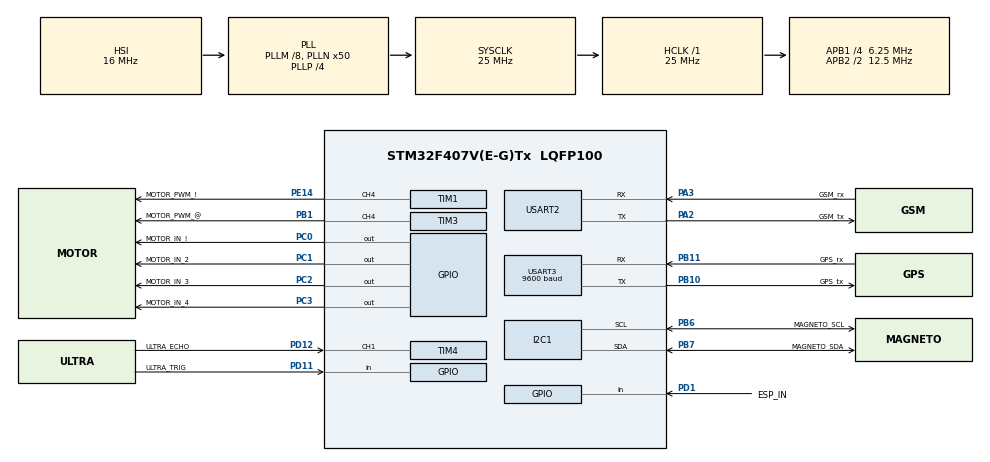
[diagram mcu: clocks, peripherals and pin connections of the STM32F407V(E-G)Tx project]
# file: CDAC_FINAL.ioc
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Mcu.Family=STM32F4
Mcu.Name=STM32F407V(E-G)Tx
Mcu.Package=LQFP100
NVIC.PriorityGroup=NVIC_PRIORITYGROUP_0
NVIC.TIM4_IRQn=true\:0\:0\:false\:false\:true\:true\:true\:true
PA2.GPIO_Label=GSM_tx
PA2.Mode=Asynchronous
PA2.Signal=USART2_TX
PA3.GPIO_Label=GSM_rx
PA3.Mode=Asynchronous
PA3.Signal=USART2_RX
PB1.GPIO_Label=MOTOR_PWM_@
PB1.Signal=S_TIM3_CH4
PB10.GPIO_Label=GPS_tx
PB10.Mode=Asynchronous
PB10.Signal=USART3_TX
PB11.GPIO_Label=GPS_rx
PB11.Mode=Asynchronous
PB11.Signal=USART3_RX
PB6.GPIO_Label=MAGNETO_SCL
PB6.Mode=I2C
PB6.Signal=I2C1_SCL
PB7.GPIO_Label=MAGNETO_SDA
PB7.Mode=I2C
PB7.Signal=I2C1_SDA
PC0.GPIO_Label=MOTOR_IN_\!
PC0.Signal=GPIO_Output
PC1.GPIO_Label=MOTOR_IN_2
PC1.Signal=GPIO_Output
PC14-OSC32_IN.Mode=LSE-External-Oscillator
PC14-OSC32_IN.Signal=RCC_OSC32_IN
PC15-OSC32_OUT.Mode=LSE-External-Oscillator
PC15-OSC32_OUT.Signal=RCC_OSC32_OUT
PC2.GPIO_Label=MOTOR_IN_3
PC2.Signal=GPIO_Output
PC3.GPIO_Label=MOTOR_IN_4
PC3.Signal=GPIO_Output
PD1.GPIO_Label=ESP_IN
PD1.Signal=GPIO_Input
PD11.GPIO_Label=ULTRA_TRIG
PD11.Signal=GPIO_Input
PD12.GPIO_Label=ULTRA_ECHO
PD12.Signal=S_TIM4_CH1
PE14.GPIO_Label=MOTOR_PWM_\!
PE14.Signal=S_TIM1_CH4
ProjectManager.HeapSize=0x200
ProjectManager.StackSize=0x400
ProjectManager.TargetToolchain=STM32CubeIDE
RCC.48MHZClocksFreq_Value=14285714.285714285
RCC.AHBFreq_Value=25000000
RCC.APB1CLKDivider=RCC_HCLK_DIV4
RCC.APB1Freq_Value=6250000
RCC.APB1TimFreq_Value=12500000
RCC.APB2CLKDivider=RCC_HCLK_DIV2
RCC.APB2Freq_Value=12500000
RCC.APB2TimFreq_Value=25000000
RCC.CortexFreq_Value=25000000
RCC.HCLKFreq_Value=25000000
RCC.HSE_VALUE=8000000
RCC.HSI_VALUE=16000000
RCC.PLLM=8
RCC.PLLN=50
RCC.PLLP=RCC_PLLP_DIV4
RCC.PLLQ=7
RCC.SYSCLKFreq_VALUE=25000000
RCC.SYSCLKSource=RCC_SYSCLKSOURCE_PLLCLK
RCC.VCOOutputFreq_Value=100000000
SH.S_TIM1_CH4.0=TIM1_CH4,PWM Generation4 CH4
SH.S_TIM3_CH4.0=TIM3_CH4,PWM Generation4 CH4
SH.S_TIM4_CH1.0=TIM4_CH1,Input_Capture1_from_TI1
TIM1.Channel-PWM\ Generation4\ CH4=TIM_CHANNEL_4
TIM1.Period=999
TIM1.Prescaler=83
TIM3.Channel-PWM\ Generation4\ CH4=TIM_CHANNEL_4
TIM3.Period=999
TIM3.Prescaler=83
TIM4.Channel-Input_Capture1_from_TI1=TIM_CHANNEL_1
TIM4.Period=999
TIM4.Prescaler=83
USART2.VirtualMode=VM_ASYNC
USART3.BaudRate=9600
USART3.VirtualMode=VM_ASYNC
board=STM32F407G-DISC1

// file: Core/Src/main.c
/* USER CODE BEGIN Header */
/**
  ******************************************************************************
  * @file           : main.c
  * @brief          : Main program body
  ******************************************************************************
  * @attention
  *
  * Copyright (c) 2025 STMicroelectronics.
  * All rights reserved.
  *
  * This software is licensed under terms that can be found in the LICENSE file
  * in the root directory of this software component.
  * If no LICENSE file comes with this software, it is provided AS-IS.
  *
  ******************************************************************************
  */
/* USER CODE END Header */
#include "main.h"

/* USER CODE BEGIN Includes */
#include <string.h>
#include <stdio.h>
#include <stdlib.h>
#include "MAGNETO.h"
#include "ULTRASONIC.h"
#include "MOTOR.h"
#include "GSM.h"

/* USER CODE END Includes */

/* USER CODE BEGIN PD */
#define IN1_PIN  GPIO_PIN_0
#define IN2_PIN  GPIO_PIN_1
#define IN3_PIN  GPIO_PIN_2
#define IN4_PIN  GPIO_PIN_3
#define MOTOR1   1
#define MOTOR2   2
#define FORWARD  1   // IN1 =1; IN2 = 0;
#define BACKWARD  0
/* USER CODE END PD */

I2C_HandleTypeDef hi2c1;

TIM_HandleTypeDef htim1;
TIM_HandleTypeDef htim3;
TIM_HandleTypeDef htim4;

UART_HandleTypeDef huart2;
UART_HandleTypeDef huart3;

/* USER CODE BEGIN PV */
int ANS;
uint8_t uart_rx_buffer[20];
char result[50];
 int8_t mag_x, mag_y, mag_z;
 char uart_buffer[10];
extern uint16_t distance;
/* USER CODE END PV */

void SystemClock_Config(void);
static void MX_GPIO_Init(void);
static void MX_I2C1_Init(void);
static void MX_USART2_UART_Init(void);
static void MX_USART3_UART_Init(void);
static void MX_TIM4_Init(void);
static void MX_TIM1_Init(void);
static void MX_TIM3_Init(void);

int main(void)
{

  /* MCU Configuration--------------------------------------------------------*/

  /* Reset of all peripherals, Initializes the Flash interface and the Systick. */
  HAL_Init();

  /* Configure the system clock */
  SystemClock_Config();

  /* Initialize all configured peripherals */
  MX_GPIO_Init();
  MX_I2C1_Init();
  MX_USART2_UART_Init();
  MX_USART3_UART_Init();
  MX_TIM4_Init();
  MX_TIM1_Init();
  MX_TIM3_Init();
  /* USER CODE BEGIN 2 */
  Magneto_init();
  HAL_TIM_IC_Start_IT(&htim4, TIM_CHANNEL_1);
  /* USER CODE END 2 */

  /* Infinite loop */
  while (1)
  {

    /* USER CODE BEGIN 3 */
	 ANS = HAL_GPIO_ReadPin(GPIOD, GPIO_PIN_1);
	 if (ANS){
		 set_motor_direction(MOTOR1, FORWARD);
		 set_motor_speed(MOTOR1, 100);
		  HAL_Delay(1000);

		 	  	// motor 2 in  forward
		set_motor_direction(MOTOR2, FORWARD);
		set_motor_speed(MOTOR2, 100);
		HAL_Delay(1000);

		 Ultrasonic_distance();
		 HMC5883L_ReadData(&mag_x, &mag_y, &mag_z);
		 HAL_UART_Receive(&huart3, uart_rx_buffer, sizeof(uart_rx_buffer), HAL_MAX_DELAY);
		 HAL_Delay(3000);
		 strcpy(result, uart_rx_buffer);
	     strcat(result, uart_buffer);
		 strcat(result, distance);
		 GSM_Send_SMS("+919130786366", result);
	 }
	 else if (ANS == 0){
		  	set_motor_direction(MOTOR1, BACKWARD);
		  	set_motor_speed(MOTOR1, 100);
		    HAL_Delay(1000);

		  	// motor 2 in  forward
		  	set_motor_direction(MOTOR2, BACKWARD);
		  	set_motor_speed(MOTOR2, 100);
		  	 HAL_Delay(1000);
	 }
//	 HAL_Delay(5000);

  }
  /* USER CODE END 3 */
}

void SystemClock_Config(void)
{
  RCC_OscInitTypeDef RCC_OscInitStruct = {0};
  RCC_ClkInitTypeDef RCC_ClkInitStruct = {0};

  /** Configure the main internal regulator output voltage
  */
  __HAL_RCC_PWR_CLK_ENABLE();
  __HAL_PWR_VOLTAGESCALING_CONFIG(PWR_REGULATOR_VOLTAGE_SCALE1);

  /** Initializes the RCC Oscillators according to the specified parameters
  * in the RCC_OscInitTypeDef structure.
  */
  RCC_OscInitStruct.OscillatorType = RCC_OSCILLATORTYPE_HSI;
  RCC_OscInitStruct.HSIState = RCC_HSI_ON;
  RCC_OscInitStruct.HSICalibrationValue = RCC_HSICALIBRATION_DEFAULT;
  RCC_OscInitStruct.PLL.PLLState = RCC_PLL_ON;
  RCC_OscInitStruct.PLL.PLLSource = RCC_PLLSOURCE_HSI;
  RCC_OscInitStruct.PLL.PLLM = 8;
  RCC_OscInitStruct.PLL.PLLN = 50;
  RCC_OscInitStruct.PLL.PLLP = RCC_PLLP_DIV4;
  RCC_OscInitStruct.PLL.PLLQ = 7;
  if (HAL_RCC_OscConfig(&RCC_OscInitStruct) != HAL_OK)
  {
    Error_Handler();
  }

  /** Initializes the CPU, AHB and APB buses clocks
  */
  RCC_ClkInitStruct.ClockType = RCC_CLOCKTYPE_HCLK|RCC_CLOCKTYPE_SYSCLK
                              |RCC_CLOCKTYPE_PCLK1|RCC_CLOCKTYPE_PCLK2;
  RCC_ClkInitStruct.SYSCLKSource = RCC_SYSCLKSOURCE_PLLCLK;
  RCC_ClkInitStruct.AHBCLKDivider = RCC_SYSCLK_DIV1;
  RCC_ClkInitStruct.APB1CLKDivider = RCC_HCLK_DIV4;
  RCC_ClkInitStruct.APB2CLKDivider = RCC_HCLK_DIV2;

  if (HAL_RCC_ClockConfig(&RCC_ClkInitStruct, FLASH_LATENCY_0) != HAL_OK)
  {
    Error_Handler();
  }
}

static void MX_I2C1_Init(void)
{

  hi2c1.Instance = I2C1;
  hi2c1.Init.ClockSpeed = 100000;
  hi2c1.Init.DutyCycle = I2C_DUTYCYCLE_2;
  hi2c1.Init.OwnAddress1 = 0;
  hi2c1.Init.AddressingMode = I2C_ADDRESSINGMODE_7BIT;
  hi2c1.Init.DualAddressMode = I2C_DUALADDRESS_DISABLE;
  hi2c1.Init.OwnAddress2 = 0;
  hi2c1.Init.GeneralCallMode = I2C_GENERALCALL_DISABLE;
  hi2c1.Init.NoStretchMode = I2C_NOSTRETCH_DISABLE;
  if (HAL_I2C_Init(&hi2c1) != HAL_OK)
  {
    Error_Handler();
  }

}

static void MX_TIM1_Init(void)
{

  TIM_MasterConfigTypeDef sMasterConfig = {0};
  TIM_OC_InitTypeDef sConfigOC = {0};
  TIM_BreakDeadTimeConfigTypeDef sBreakDeadTimeConfig = {0};

  htim1.Instance = TIM1;
  htim1.Init.Prescaler = 83;
  htim1.Init.CounterMode = TIM_COUNTERMODE_UP;
  htim1.Init.Period = 999;
  htim1.Init.ClockDivision = TIM_CLOCKDIVISION_DIV1;
  htim1.Init.RepetitionCounter = 0;
  htim1.Init.AutoReloadPreload = TIM_AUTORELOAD_PRELOAD_DISABLE;
  if (HAL_TIM_PWM_Init(&htim1) != HAL_OK)
  {
    Error_Handler();
  }
  sMasterConfig.MasterOutputTrigger = TIM_TRGO_RESET;
  sMasterConfig.MasterSlaveMode = TIM_MASTERSLAVEMODE_DISABLE;
  if (HAL_TIMEx_MasterConfigSynchronization(&htim1, &sMasterConfig) != HAL_OK)
  {
    Error_Handler();
  }
  sConfigOC.OCMode = TIM_OCMODE_PWM1;
  sConfigOC.Pulse = 0;
  sConfigOC.OCPolarity = TIM_OCPOLARITY_HIGH;
  sConfigOC.OCFastMode = TIM_OCFAST_DISABLE;
  sConfigOC.OCIdleState = TIM_OCIDLESTATE_RESET;
  sConfigOC.OCNIdleState = TIM_OCNIDLESTATE_RESET;
  if (HAL_TIM_PWM_ConfigChannel(&htim1, &sConfigOC, TIM_CHANNEL_4) != HAL_OK)
  {
    Error_Handler();
  }
  sBreakDeadTimeConfig.OffStateRunMode = TIM_OSSR_DISABLE;
  sBreakDeadTimeConfig.OffStateIDLEMode = TIM_OSSI_DISABLE;
  sBreakDeadTimeConfig.LockLevel = TIM_LOCKLEVEL_OFF;
  sBreakDeadTimeConfig.DeadTime = 0;
  sBreakDeadTimeConfig.BreakState = TIM_BREAK_DISABLE;
  sBreakDeadTimeConfig.BreakPolarity = TIM_BREAKPOLARITY_HIGH;
  sBreakDeadTimeConfig.AutomaticOutput = TIM_AUTOMATICOUTPUT_DISABLE;
  if (HAL_TIMEx_ConfigBreakDeadTime(&htim1, &sBreakDeadTimeConfig) != HAL_OK)
  {
    Error_Handler();
  }
  HAL_TIM_MspPostInit(&htim1);

}

static void MX_TIM3_Init(void)
{

  TIM_MasterConfigTypeDef sMasterConfig = {0};
  TIM_OC_InitTypeDef sConfigOC = {0};

  htim3.Instance = TIM3;
  htim3.Init.Prescaler = 83;
  htim3.Init.CounterMode = TIM_COUNTERMODE_UP;
  htim3.Init.Period = 999;
  htim3.Init.ClockDivision = TIM_CLOCKDIVISION_DIV1;
  htim3.Init.AutoReloadPreload = TIM_AUTORELOAD_PRELOAD_DISABLE;
  if (HAL_TIM_PWM_Init(&htim3) != HAL_OK)
  {
    Error_Handler();
  }
  sMasterConfig.MasterOutputTrigger = TIM_TRGO_RESET;
  sMasterConfig.MasterSlaveMode = TIM_MASTERSLAVEMODE_DISABLE;
  if (HAL_TIMEx_MasterConfigSynchronization(&htim3, &sMasterConfig) != HAL_OK)
  {
    Error_Handler();
  }
  sConfigOC.OCMode = TIM_OCMODE_PWM1;
  sConfigOC.Pulse = 0;
  sConfigOC.OCPolarity = TIM_OCPOLARITY_HIGH;
  sConfigOC.OCFastMode = TIM_OCFAST_DISABLE;
  if (HAL_TIM_PWM_ConfigChannel(&htim3, &sConfigOC, TIM_CHANNEL_4) != HAL_OK)
  {
    Error_Handler();
  }
  HAL_TIM_MspPostInit(&htim3);

}

static void MX_TIM4_Init(void)
{

  TIM_MasterConfigTypeDef sMasterConfig = {0};
  TIM_IC_InitTypeDef sConfigIC = {0};

  htim4.Instance = TIM4;
  htim4.Init.Prescaler = 83;
  htim4.Init.CounterMode = TIM_COUNTERMODE_UP;
  htim4.Init.Period = 999;
  htim4.Init.ClockDivision = TIM_CLOCKDIVISION_DIV1;
  htim4.Init.AutoReloadPreload = TIM_AUTORELOAD_PRELOAD_DISABLE;
  if (HAL_TIM_IC_Init(&htim4) != HAL_OK)
  {
    Error_Handler();
  }
  sMasterConfig.MasterOutputTrigger = TIM_TRGO_RESET;
  sMasterConfig.MasterSlaveMode = TIM_MASTERSLAVEMODE_DISABLE;
  if (HAL_TIMEx_MasterConfigSynchronization(&htim4, &sMasterConfig) != HAL_OK)
  {
    Error_Handler();
  }
  sConfigIC.ICPolarity = TIM_INPUTCHANNELPOLARITY_RISING;
  sConfigIC.ICSelection = TIM_ICSELECTION_DIRECTTI;
  sConfigIC.ICPrescaler = TIM_ICPSC_DIV1;
  sConfigIC.ICFilter = 0;
  if (HAL_TIM_IC_ConfigChannel(&htim4, &sConfigIC, TIM_CHANNEL_1) != HAL_OK)
  {
    Error_Handler();
  }

}

static void MX_USART2_UART_Init(void)
{

  huart2.Instance = USART2;
  huart2.Init.BaudRate = 115200;
  huart2.Init.WordLength = UART_WORDLENGTH_8B;
  huart2.Init.StopBits = UART_STOPBITS_1;
  huart2.Init.Parity = UART_PARITY_NONE;
  huart2.Init.Mode = UART_MODE_TX_RX;
  huart2.Init.HwFlowCtl = UART_HWCONTROL_NONE;
  huart2.Init.OverSampling = UART_OVERSAMPLING_16;
  if (HAL_UART_Init(&huart2) != HAL_OK)
  {
    Error_Handler();
  }

}

static void MX_USART3_UART_Init(void)
{

  huart3.Instance = USART3;
  huart3.Init.BaudRate = 9600;
  huart3.Init.WordLength = UART_WORDLENGTH_8B;
  huart3.Init.StopBits = UART_STOPBITS_1;
  huart3.Init.Parity = UART_PARITY_NONE;
  huart3.Init.Mode = UART_MODE_TX_RX;
  huart3.Init.HwFlowCtl = UART_HWCONTROL_NONE;
  huart3.Init.OverSampling = UART_OVERSAMPLING_16;
  if (HAL_UART_Init(&huart3) != HAL_OK)
  {
    Error_Handler();
  }

}

static void MX_GPIO_Init(void)
{
  GPIO_InitTypeDef GPIO_InitStruct = {0};

  /* GPIO Ports Clock Enable */
  __HAL_RCC_GPIOC_CLK_ENABLE();
  __HAL_RCC_GPIOA_CLK_ENABLE();
  __HAL_RCC_GPIOB_CLK_ENABLE();
  __HAL_RCC_GPIOE_CLK_ENABLE();
  __HAL_RCC_GPIOD_CLK_ENABLE();

  /*Configure GPIO pin Output Level */
  HAL_GPIO_WritePin(GPIOC, MOTOR_IN___Pin|MOTOR_IN_2_Pin|MOTOR_IN_3_Pin|MOTOR_IN_4_Pin, GPIO_PIN_RESET);

  /*Configure GPIO pins : MOTOR_IN___Pin MOTOR_IN_2_Pin MOTOR_IN_3_Pin MOTOR_IN_4_Pin */
  GPIO_InitStruct.Pin = MOTOR_IN___Pin|MOTOR_IN_2_Pin|MOTOR_IN_3_Pin|MOTOR_IN_4_Pin;
  GPIO_InitStruct.Mode = GPIO_MODE_OUTPUT_PP;
  GPIO_InitStruct.Pull = GPIO_NOPULL;
  GPIO_InitStruct.Speed = GPIO_SPEED_FREQ_LOW;
  HAL_GPIO_Init(GPIOC, &GPIO_InitStruct);

  /*Configure GPIO pins : ULTRA_TRIG_Pin ESP_IN_Pin */
  GPIO_InitStruct.Pin = ULTRA_TRIG_Pin|ESP_IN_Pin;
  GPIO_InitStruct.Mode = GPIO_MODE_INPUT;
  GPIO_InitStruct.Pull = GPIO_NOPULL;
  HAL_GPIO_Init(GPIOD, &GPIO_InitStruct);

}

void Error_Handler(void)
{
  __disable_irq();
  while (1)
  {
  }
}
